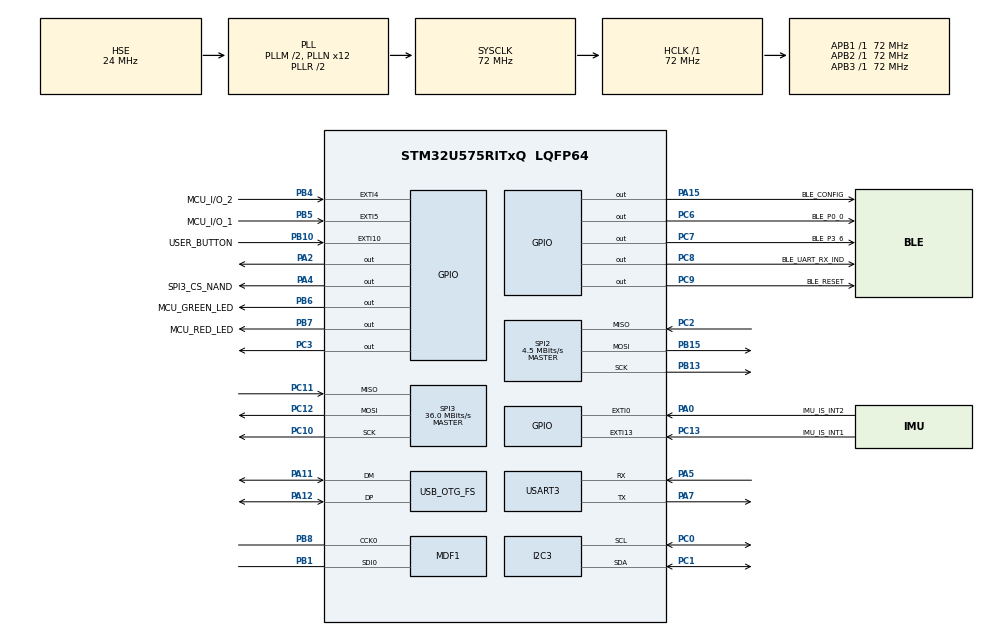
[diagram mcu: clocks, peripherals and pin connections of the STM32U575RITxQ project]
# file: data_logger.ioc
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CORTEX_M33_NS.userName=CORTEX_M33
GPDMA1.CIRCULARMODE_GPDMACH0=ENABLE
GPDMA1.DESTDATAWIDTH_GPDMACH0=DMA_DEST_DATAWIDTH_HALFWORD
GPDMA1.DESTINC_GPDMACH0=DMA_DINC_INCREMENTED
GPDMA1.IPHANDLE_GPDMACH0-SIMPLEREQUEST_GPDMACH0=__NULL
GPDMA1.REQUEST_GPDMACH0=GPDMA1_REQUEST_MDF1_FLT0
GPDMA1.SRCDATAWIDTH_GPDMACH0=DMA_SRC_DATAWIDTH_HALFWORD
I2C3.Timing=0x10808DD3
MDF1.MDF_COMPARAM_ActivationClockTrigger=DISABLE
MDF1.MDF_COMPARAM_ActivationOutputClock=ENABLE
MDF1.MDF_COMPARAM_Divider=10
MDF1.MDF_COMPARAM_Pins=MDF_OUTPUT_CLOCK_0
MDF1.MDF_DFLT0_AcquisitionMode=MDF_MODE_ASYNC_CONT
MDF1.MDF_DFLT0_CIC_Mode=MDF_ONE_FILTER_SINC5
MDF1.MDF_DFLT0_Decimation=24
MDF1.MDF_DFLT0_DiscardSamples=255
MDF1.MDF_DFLT0_FifoThreshold=MDF_FIFO_THRESHOLD_HALF_FULL
MDF1.MDF_DFLT0_Gain=1
MDF1.MDF_DFLT0_HighPassFilterActivation=ENABLE
MDF1.MDF_DFLT0_ReshapeFilterActivation=ENABLE
MDF1.MDF_SITF0_Mode_Display=MDF_SITF_NORMAL_SPI_MODE
MDF1.MDF_SITF0_Threshold=31
Mcu.Family=STM32U5
Mcu.Name=STM32U575RITxQ
Mcu.Package=LQFP64
NVIC.EXTI0_IRQn=true\:0\:0\:false\:false\:true\:true\:true\:true
NVIC.EXTI10_IRQn=true\:0\:0\:false\:false\:true\:true\:true\:true
NVIC.EXTI13_IRQn=true\:0\:0\:false\:false\:true\:true\:true\:true
NVIC.EXTI4_IRQn=true\:0\:0\:false\:false\:true\:true\:true\:true
NVIC.EXTI5_IRQn=true\:0\:0\:false\:false\:true\:true\:true\:true
NVIC.GPDMA1_Channel0_IRQn=true\:0\:0\:false\:false\:true\:false\:true\:true
NVIC.MDF1_FLT0_IRQn=true\:0\:0\:false\:false\:true\:true\:true\:true
NVIC.OTG_FS_IRQn=true\:0\:0\:false\:false\:true\:true\:true\:true
NVIC.PriorityGroup=NVIC_PRIORITYGROUP_4
NVIC.SPI2_IRQn=true\:0\:0\:false\:false\:true\:true\:true\:true
NVIC.SPI3_IRQn=true\:0\:0\:false\:false\:true\:true\:true\:true
NVIC.TIM2_IRQn=true\:2\:0\:true\:false\:true\:true\:true\:true
NVIC.USART3_IRQn=true\:0\:0\:false\:false\:true\:true\:true\:true
PA0.GPIO_Label=IMU_IS_INT2
PA0.Signal=GPXTI0
PA11.GPIO_Speed=GPIO_SPEED_FREQ_VERY_HIGH
PA11.Mode=Device_Only
PA11.Signal=USB_OTG_FS_DM
PA12.GPIO_Speed=GPIO_SPEED_FREQ_VERY_HIGH
PA12.Mode=Device_Only
PA12.Signal=USB_OTG_FS_DP
PA13\ (JTMS/SWDIO).Mode=Trace_Asynchronous_SW
PA13\ (JTMS/SWDIO).Signal=DEBUG_JTMS-SWDIO
PA14\ (JTCK/SWCLK).Mode=Trace_Asynchronous_SW
PA14\ (JTCK/SWCLK).Signal=DEBUG_JTCK-SWCLK
PA15\ (JTDI).GPIO_Label=BLE_CONFIG
PA15\ (JTDI).PinState=GPIO_PIN_SET
PA15\ (JTDI).Signal=GPIO_Output
PA2.Signal=GPIO_Output
PA4.GPIO_Label=SPI3_CS_NAND
PA4.Signal=GPIO_Output
PA5.Mode=Asynchronous
PA5.Signal=USART3_RX
PA7.Mode=Asynchronous
PA7.Signal=USART3_TX
PA9.Signal=USB_OTG_FS_VBUS
PB1.GPIO_Speed=GPIO_SPEED_FREQ_VERY_HIGH
PB1.Mode=MOD_MDF_SITF0_CCK0
PB1.Signal=MDF1_SDI0
PB10.GPIO_Label=USER_BUTTON
PB10.GPIO_ModeDefaultEXTI=GPIO_MODE_IT_RISING_FALLING
PB10.GPIO_PuPd=GPIO_PULLDOWN
PB10.Signal=GPXTI10
PB13.Mode=Full_Duplex_Master
PB13.Signal=SPI2_SCK
PB15.Mode=Full_Duplex_Master
PB15.Signal=SPI2_MOSI
PB3\ (JTDO/TRACESWO).Mode=Trace_Asynchronous_SW
PB3\ (JTDO/TRACESWO).Signal=DEBUG_JTDO-SWO
PB4\ (NJTRST).GPIO_Label=MCU_I/O_2
PB4\ (NJTRST).Signal=GPXTI4
PB5.GPIO_Label=MCU_I/O_1
PB5.GPIO_ModeDefaultEXTI=GPIO_MODE_IT_FALLING
PB5.Signal=GPXTI5
PB6.GPIO_Label=MCU_GREEN_LED
PB6.Signal=GPIO_Output
PB7.GPIO_Label=MCU_RED_LED
PB7.Signal=GPIO_Output
PB8.GPIO_FM8=SYSCFG_FASTMODEPLUS_PB8
PB8.GPIO_Speed=GPIO_SPEED_FREQ_VERY_HIGH
PB8.Mode=MOD_MDF_CCK0
PB8.Signal=MDF1_CCK0
PC0.Mode=I2C
PC0.Signal=I2C3_SCL
PC1.Mode=I2C
PC1.Signal=I2C3_SDA
PC10.Mode=Full_Duplex_Master
PC10.Signal=SPI3_SCK
PC11.Mode=Full_Duplex_Master
PC11.Signal=SPI3_MISO
PC12.Mode=Full_Duplex_Master
PC12.Signal=SPI3_MOSI
PC13.GPIO_Label=IMU_IS_INT1
PC13.Signal=GPXTI13
PC14-OSC32_IN\ (PC14).Mode=LSE-External-Oscillator
PC14-OSC32_IN\ (PC14).Signal=RCC_OSC32_IN
PC15-OSC32_OUT\ (PC15).Mode=LSE-External-Oscillator
PC15-OSC32_OUT\ (PC15).Signal=RCC_OSC32_OUT
PC2.Mode=Full_Duplex_Master
PC2.Signal=SPI2_MISO
PC3.Signal=GPIO_Output
PC6.GPIO_Label=BLE_P0_0
PC6.Signal=GPIO_Output
PC7.GPIO_Label=BLE_P3_6
PC7.Signal=GPIO_Output
PC8.GPIO_Label=BLE_UART_RX_IND
PC8.Signal=GPIO_Output
PC9.GPIO_Label=BLE_RESET
PC9.Signal=GPIO_Output
PH0-OSC_IN\ (PH0).Mode=HSE-External-Oscillator
PH0-OSC_IN\ (PH0).Signal=RCC_OSC_IN
PH1-OSC_OUT\ (PH1).Mode=HSE-External-Oscillator
PH1-OSC_OUT\ (PH1).Signal=RCC_OSC_OUT
ProjectManager.HeapSize=0x400
ProjectManager.StackSize=0x800
ProjectManager.TargetToolchain=CMake
RCC.ADCFreq_Value=16000000
RCC.AHBFreq_Value=72000000
RCC.APB1Freq_Value=72000000
RCC.APB1TimFreq_Value=72000000
RCC.APB2Freq_Value=72000000
RCC.APB2TimFreq_Value=72000000
RCC.APB3Freq_Value=72000000
RCC.CK48CLockSelection=RCC_CLK48CLKSOURCE_PLL1
RCC.CortexFreq_Value=72000000
RCC.EPOD_VALUE=24000000
RCC.HCLKFreq_Value=72000000
RCC.HSE_VALUE=24000000
RCC.HSI48_VALUE=48000000
RCC.HSI_VALUE=16000000
RCC.LSIDIV_VALUE=32000
RCC.MSIClockRange=RCC_MSIRANGE_0
RCC.MSI_VALUE=48000000
RCC.MdfClockSelection=RCC_MDF1CLKSOURCE_PLL3
RCC.PLL1Q=3
RCC.PLL2FRACN=0
RCC.PLL3FRACN=0
RCC.PLL3M=3
RCC.PLL3N=48
RCC.PLL3Q=25
RCC.PLL3Source=RCC_PLLSOURCE_HSE
RCC.PLLFRACN=0
RCC.PLLM=2
RCC.PLLN=12
RCC.PLLSourceVirtual=RCC_PLLSOURCE_HSE
RCC.SYSCLKFreq_VALUE=72000000
RCC.SYSCLKSource=RCC_SYSCLKSOURCE_PLLCLK
RCC.USBFreq_Value=48000000
RCC.VCOOutputFreq_Value=144000000
SPI2.BaudRatePrescaler=SPI_BAUDRATEPRESCALER_16
SPI2.CalculateBaudRate=4.5 MBits/s
SPI2.DataSize=SPI_DATASIZE_8BIT
SPI2.Direction=SPI_DIRECTION_2LINES
SPI2.Mode=SPI_MODE_MASTER
SPI2.VirtualType=VM_MASTER
SPI3.CalculateBaudRate=36.0 MBits/s
SPI3.Direction=SPI_DIRECTION_2LINES
SPI3.Mode=SPI_MODE_MASTER
SPI3.VirtualType=VM_MASTER
TIM2.PeriodNoDither=100-1
TIM2.Prescaler=7200-1
USART3.VirtualMode-Asynchronous=VM_ASYNC
USB_OTG_FS.VirtualMode=Device_Only
VP_GPDMA1_VS_GPDMACH0.Mode=SIMPLEREQUEST_GPDMACH0
VP_ICACHE_VS_ENABLE_ICACHE_MEMORY.Mode=Memoryregions
VP_LPBAMQUEUE_VS_QUEUE.Mode=QUEUEMODE
VP_LPBAM_VS_SIG1.Mode=SmartRun
VP_LPBAM_VS_SIG4.Mode=LPDMA1
VP_MDF1_VS_MDF_DFLT0.Mode=MOD_MDF_DFLT0
VP_MEMORYMAP_VS_MEMORYMAP.Mode=CurAppReg
VP_PWR_VS_SECSignals.Mode=Security/Privilege
VP_TIM2_VS_ClockSourceINT.Mode=Internal
board=custom

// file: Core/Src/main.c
/* USER CODE BEGIN Header */
/**
  ******************************************************************************
  * @file           : main.c
  * @brief          : Main application file for data_logger project.
  ******************************************************************************
  * @functionality  : This firmware implements a complete Data Logger for the microphone and spectrometer.
  * @details        : The application operates using a State Machine triggered by a
  * single USER BUTTON. It performs two primary tasks:
  * 1. Real-time Acquisition: Reads microphone and spectrometer data
  * 2. Data Logging: Saves acquired data to NAND Flash memory.
  *
  * Saved data can be downloaded via a USB Virtual COM Port (VCP)
  * connection, also initiated by the USER BUTTON.
  *
  * @intended_use   : Starting template for Smart Wearables Course
  * exploring microphone interfaces, i2c commincation, and memory management.
  ******************************************************************************
  */
/* USER CODE END Header */
#include "main.h"

/* USER CODE BEGIN Includes */
#include "string.h"
#include "stdio.h"
#include "../../USB_Device/App/usb_device.h"
#include "SPI.h"
#include "SPI_NAND.h"
#include "Memory_operations.h"
#include "led_driver.h"
#include "imu_driver.h"
#include "bluetooth.h"
#include "as7341.h"
/* USER CODE END Includes */

I2C_HandleTypeDef hi2c3;

MDF_HandleTypeDef MdfHandle0;
MDF_FilterConfigTypeDef MdfFilterConfig0;
DMA_NodeTypeDef Node_GPDMA1_Channel0;
DMA_QListTypeDef List_GPDMA1_Channel0;
DMA_HandleTypeDef handle_GPDMA1_Channel0;

SPI_HandleTypeDef hspi2;
SPI_HandleTypeDef hspi3;

TIM_HandleTypeDef htim2;

UART_HandleTypeDef huart3;

PCD_HandleTypeDef hpcd_USB_OTG_FS;

/* USER CODE BEGIN PV */

// --- State Machine ---
// The current state of the application. Initial state is IDLE.
static AppState current_state = STATE_IDLE;

// --- Global Flags and Variables ---
// Flag to indicate a USB connection event.
// Set to 1 when a USB connection is detected.
uint8_t usb_flag = 0;

// Spectrometer data structures
AS7341_Handle_t h_as7341;
AS7341_SpectralData_t spectral_data;
AS7341_SpectralData_t spectral_data_buffer; // Buffer for last complete values
volatile bool spectral_data_ready = false;  // Flag set when a complete 11-channel read is finished

// --- Buffer Audio DMA Circolare Hardware ---
#define AUDIO_BLOCK_SIZE 2034
#define AUDIO_BUF_SIZE   (AUDIO_BLOCK_SIZE * 2)
int16_t audio_buffer[AUDIO_BUF_SIZE];

/// ----- NAND FLASH variables ----- ///
uint8_t NAND_packet[4096] = {0};
uint16_t sample = 0;
uint16_t blocco_scritto = 0;
uint8_t pagina_scritta=0;
uint16_t b = 0;

read_address_t blocco;
column_address_t colonna = 0;

uint16_t bad_blocks[2048]={-1}; // bad blocks array for writing/reading
uint8_t bad_blocks2[2048]={0}; // bad blocks array for erasing

uint8_t data_letto[4096] = {0};
int exit_flag = 0;

volatile uint16_t packet_index = 0;
/* USER CODE END PV */

void SystemClock_Config(void);
static void MX_GPIO_Init(void);
static void MX_GPDMA1_Init(void);
static void MX_ICACHE_Init(void);
static void MX_I2C3_Init(void);
static void MX_USART3_UART_Init(void);
static void MX_USB_OTG_FS_PCD_Init(void);
static void MX_MDF1_Init(void);
static void MX_TIM2_Init(void);
static void MX_SPI3_Init(void);
static void MX_SPI2_Init(void);

int main(void)
{

  /* MCU Configuration--------------------------------------------------------*/

  /* Reset of all peripherals, Initializes the Flash interface and the Systick. */
  HAL_Init();

  /* Configure the system clock */
  SystemClock_Config();

  /* Initialize all configured peripherals */
  MX_GPIO_Init();
  MX_GPDMA1_Init();
  MX_ICACHE_Init();
  MX_I2C3_Init();
  MX_USART3_UART_Init();
  MX_USB_OTG_FS_PCD_Init();
  MX_MDF1_Init();
  MX_TIM2_Init();
  MX_SPI3_Init();
  MX_SPI2_Init();
  /* USER CODE BEGIN 2 */
  // Inizializzazione USB
  MX_USB_Device_Init();
  HAL_Delay(1000);

  spi_nand_init();
  find_bad_blocks(bad_blocks); // find bad_blocks and save them

  // Inizializzazione Spettrometro AS7341 sulla I2C3
  if (AS7341_Init(&h_as7341, &hi2c3, 99, 599, AS7341_GAIN_8X, true) != AS7341_OK) {
      LED_On(LED_RED);
      Error_Handler();
  }
  /* USER CODE END 2 */

  /* Infinite loop */
  while (1)
  {

    /* USER CODE BEGIN 3 */

		//LED_Toggle(LED_GREEN);
		//HAL_Delay(1000);

	  switch(current_state) {
      case STATE_IDLE:
        LED_Off(LED_RED);
        LED_Off(LED_GREEN);
        // Check if a USB connection has been detected
        if(!usb_flag) {
          //MX_USB_Device_Init();
        } else {
          // Transition to the USB_CONNECTED state
          current_state = STATE_USB_CONNECTED;
          // Green LED on upon USB Connection
          LED_On(LED_GREEN);
        }
      break;

      case STATE_ACQUISITION:
          LED_On(LED_RED);
          LED_Off(LED_GREEN);
          // If the spectrometer has finished Cycle 2, re-trigger the next read sequence
          if (h_as7341.state == AS7341_STATE_IDLE) {
              AS7341_StartRead(&h_as7341);
          }
          // Microphone acquisition is handled by the DMA
          break;

      case STATE_USB_CONNECTED:
        LED_Off(LED_RED);
        LED_On(LED_GREEN);
        HAL_Delay(10);
      break;

      case STATE_DOWNLOAD:
        LED_On(LED_GREEN);
        LED_On(LED_RED);

        // This state manages reading data blocks and sending them via USB.
        // Once download is complete, the state returns to USB_CONNECTED.
        // Read data packets from memory
        read_memory_and_transmit();

        current_state = STATE_USB_CONNECTED;
      break;
	  }

  }
  /* USER CODE END 3 */
}

void SystemClock_Config(void)
{
  RCC_OscInitTypeDef RCC_OscInitStruct = {0};
  RCC_ClkInitTypeDef RCC_ClkInitStruct = {0};

  /** Configure the main internal regulator output voltage
  */
  if (HAL_PWREx_ControlVoltageScaling(PWR_REGULATOR_VOLTAGE_SCALE2) != HAL_OK)
  {
    Error_Handler();
  }

  /** Initializes the CPU, AHB and APB buses clocks
  */
  RCC_OscInitStruct.OscillatorType = RCC_OSCILLATORTYPE_HSE;
  RCC_OscInitStruct.HSEState = RCC_HSE_ON;
  RCC_OscInitStruct.PLL.PLLState = RCC_PLL_ON;
  RCC_OscInitStruct.PLL.PLLSource = RCC_PLLSOURCE_HSE;
  RCC_OscInitStruct.PLL.PLLMBOOST = RCC_PLLMBOOST_DIV2;
  RCC_OscInitStruct.PLL.PLLM = 2;
  RCC_OscInitStruct.PLL.PLLN = 12;
  RCC_OscInitStruct.PLL.PLLP = 2;
  RCC_OscInitStruct.PLL.PLLQ = 3;
  RCC_OscInitStruct.PLL.PLLR = 2;
  RCC_OscInitStruct.PLL.PLLRGE = RCC_PLLVCIRANGE_1;
  RCC_OscInitStruct.PLL.PLLFRACN = 0;
  if (HAL_RCC_OscConfig(&RCC_OscInitStruct) != HAL_OK)
  {
    Error_Handler();
  }

  /** Initializes the CPU, AHB and APB buses clocks
  */
  RCC_ClkInitStruct.ClockType = RCC_CLOCKTYPE_HCLK|RCC_CLOCKTYPE_SYSCLK
                              |RCC_CLOCKTYPE_PCLK1|RCC_CLOCKTYPE_PCLK2
                              |RCC_CLOCKTYPE_PCLK3;
  RCC_ClkInitStruct.SYSCLKSource = RCC_SYSCLKSOURCE_PLLCLK;
  RCC_ClkInitStruct.AHBCLKDivider = RCC_SYSCLK_DIV1;
  RCC_ClkInitStruct.APB1CLKDivider = RCC_HCLK_DIV1;
  RCC_ClkInitStruct.APB2CLKDivider = RCC_HCLK_DIV1;
  RCC_ClkInitStruct.APB3CLKDivider = RCC_HCLK_DIV1;

  if (HAL_RCC_ClockConfig(&RCC_ClkInitStruct, FLASH_LATENCY_2) != HAL_OK)
  {
    Error_Handler();
  }
}

static void MX_GPDMA1_Init(void)
{

  /* Peripheral clock enable */
  __HAL_RCC_GPDMA1_CLK_ENABLE();

  /* GPDMA1 interrupt Init */
    HAL_NVIC_SetPriority(GPDMA1_Channel0_IRQn, 0, 0);
    HAL_NVIC_EnableIRQ(GPDMA1_Channel0_IRQn);

}

static void MX_I2C3_Init(void)
{

  hi2c3.Instance = I2C3;
  hi2c3.Init.Timing = 0x10808DD3;
  hi2c3.Init.OwnAddress1 = 0;
  hi2c3.Init.AddressingMode = I2C_ADDRESSINGMODE_7BIT;
  hi2c3.Init.DualAddressMode = I2C_DUALADDRESS_DISABLE;
  hi2c3.Init.OwnAddress2 = 0;
  hi2c3.Init.OwnAddress2Masks = I2C_OA2_NOMASK;
  hi2c3.Init.GeneralCallMode = I2C_GENERALCALL_DISABLE;
  hi2c3.Init.NoStretchMode = I2C_NOSTRETCH_DISABLE;
  if (HAL_I2C_Init(&hi2c3) != HAL_OK)
  {
    Error_Handler();
  }

  /** Configure Analogue filter
  */
  if (HAL_I2CEx_ConfigAnalogFilter(&hi2c3, I2C_ANALOGFILTER_ENABLE) != HAL_OK)
  {
    Error_Handler();
  }

  /** Configure Digital filter
  */
  if (HAL_I2CEx_ConfigDigitalFilter(&hi2c3, 0) != HAL_OK)
  {
    Error_Handler();
  }

}

static void MX_ICACHE_Init(void)
{

}

static void MX_MDF1_Init(void)
{

  /**
    MdfHandle0 structure initialization and HAL_MDF_Init function call
  */
  MdfHandle0.Instance = MDF1_Filter0;
  MdfHandle0.Init.CommonParam.InterleavedFilters = 0;
  MdfHandle0.Init.CommonParam.ProcClockDivider = 1;
  MdfHandle0.Init.CommonParam.OutputClock.Activation = ENABLE;
  MdfHandle0.Init.CommonParam.OutputClock.Pins = MDF_OUTPUT_CLOCK_0;
  MdfHandle0.Init.CommonParam.OutputClock.Divider = 10;
  MdfHandle0.Init.CommonParam.OutputClock.Trigger.Activation = DISABLE;
  MdfHandle0.Init.SerialInterface.Activation = ENABLE;
  MdfHandle0.Init.SerialInterface.Mode = MDF_SITF_NORMAL_SPI_MODE;
  MdfHandle0.Init.SerialInterface.ClockSource = MDF_SITF_CCK0_SOURCE;
  MdfHandle0.Init.SerialInterface.Threshold = 31;
  MdfHandle0.Init.FilterBistream = MDF_BITSTREAM0_RISING;
  if (HAL_MDF_Init(&MdfHandle0) != HAL_OK)
  {
    Error_Handler();
  }

  /**
    MdfFilterConfig0, MdfOldConfig0 and/or MdfScdConfig0 structures initialization

    WARNING : only structures are filled, no specific init function call for filter
  */
  MdfFilterConfig0.DataSource = MDF_DATA_SOURCE_BSMX;
  MdfFilterConfig0.Delay = 0;
  MdfFilterConfig0.CicMode = MDF_ONE_FILTER_SINC5;
  MdfFilterConfig0.DecimationRatio = 24;
  MdfFilterConfig0.Offset = 0;
  MdfFilterConfig0.Gain = 1;
  MdfFilterConfig0.ReshapeFilter.Activation = ENABLE;
  MdfFilterConfig0.ReshapeFilter.DecimationRatio = MDF_RSF_DECIMATION_RATIO_4;
  MdfFilterConfig0.HighPassFilter.Activation = ENABLE;
  MdfFilterConfig0.HighPassFilter.CutOffFrequency = MDF_HPF_CUTOFF_0_000625FPCM;
  MdfFilterConfig0.Integrator.Activation = DISABLE;
  MdfFilterConfig0.SoundActivity.Activation = DISABLE;
  MdfFilterConfig0.AcquisitionMode = MDF_MODE_ASYNC_CONT;
  MdfFilterConfig0.FifoThreshold = MDF_FIFO_THRESHOLD_HALF_FULL;
  MdfFilterConfig0.DiscardSamples = 255;

}

static void MX_SPI2_Init(void)
{

  SPI_AutonomousModeConfTypeDef HAL_SPI_AutonomousMode_Cfg_Struct = {0};

  /* SPI2 parameter configuration*/
  hspi2.Instance = SPI2;
  hspi2.Init.Mode = SPI_MODE_MASTER;
  hspi2.Init.Direction = SPI_DIRECTION_2LINES;
  hspi2.Init.DataSize = SPI_DATASIZE_8BIT;
  hspi2.Init.CLKPolarity = SPI_POLARITY_LOW;
  hspi2.Init.CLKPhase = SPI_PHASE_1EDGE;
  hspi2.Init.NSS = SPI_NSS_SOFT;
  hspi2.Init.BaudRatePrescaler = SPI_BAUDRATEPRESCALER_16;
  hspi2.Init.FirstBit = SPI_FIRSTBIT_MSB;
  hspi2.Init.TIMode = SPI_TIMODE_DISABLE;
  hspi2.Init.CRCCalculation = SPI_CRCCALCULATION_DISABLE;
  hspi2.Init.CRCPolynomial = 0x7;
  hspi2.Init.NSSPMode = SPI_NSS_PULSE_ENABLE;
  hspi2.Init.NSSPolarity = SPI_NSS_POLARITY_LOW;
  hspi2.Init.FifoThreshold = SPI_FIFO_THRESHOLD_01DATA;
  hspi2.Init.MasterSSIdleness = SPI_MASTER_SS_IDLENESS_00CYCLE;
  hspi2.Init.MasterInterDataIdleness = SPI_MASTER_INTERDATA_IDLENESS_00CYCLE;
  hspi2.Init.MasterReceiverAutoSusp = SPI_MASTER_RX_AUTOSUSP_DISABLE;
  hspi2.Init.MasterKeepIOState = SPI_MASTER_KEEP_IO_STATE_DISABLE;
  hspi2.Init.IOSwap = SPI_IO_SWAP_DISABLE;
  hspi2.Init.ReadyMasterManagement = SPI_RDY_MASTER_MANAGEMENT_INTERNALLY;
  hspi2.Init.ReadyPolarity = SPI_RDY_POLARITY_HIGH;
  if (HAL_SPI_Init(&hspi2) != HAL_OK)
  {
    Error_Handler();
  }
  HAL_SPI_AutonomousMode_Cfg_Struct.TriggerState = SPI_AUTO_MODE_DISABLE;
  HAL_SPI_AutonomousMode_Cfg_Struct.TriggerSelection = SPI_GRP1_GPDMA_CH0_TCF_TRG;
  HAL_SPI_AutonomousMode_Cfg_Struct.TriggerPolarity = SPI_TRIG_POLARITY_RISING;
  if (HAL_SPIEx_SetConfigAutonomousMode(&hspi2, &HAL_SPI_AutonomousMode_Cfg_Struct) != HAL_OK)
  {
    Error_Handler();
  }

}

static void MX_SPI3_Init(void)
{

  SPI_AutonomousModeConfTypeDef HAL_SPI_AutonomousMode_Cfg_Struct = {0};

  /* SPI3 parameter configuration*/
  hspi3.Instance = SPI3;
  hspi3.Init.Mode = SPI_MODE_MASTER;
  hspi3.Init.Direction = SPI_DIRECTION_2LINES;
  hspi3.Init.DataSize = SPI_DATASIZE_8BIT;
  hspi3.Init.CLKPolarity = SPI_POLARITY_LOW;
  hspi3.Init.CLKPhase = SPI_PHASE_1EDGE;
  hspi3.Init.NSS = SPI_NSS_SOFT;
  hspi3.Init.BaudRatePrescaler = SPI_BAUDRATEPRESCALER_2;
  hspi3.Init.FirstBit = SPI_FIRSTBIT_MSB;
  hspi3.Init.TIMode = SPI_TIMODE_DISABLE;
  hspi3.Init.CRCCalculation = SPI_CRCCALCULATION_DISABLE;
  hspi3.Init.CRCPolynomial = 0x7;
  hspi3.Init.NSSPMode = SPI_NSS_PULSE_ENABLE;
  hspi3.Init.NSSPolarity = SPI_NSS_POLARITY_LOW;
  hspi3.Init.FifoThreshold = SPI_FIFO_THRESHOLD_01DATA;
  hspi3.Init.MasterSSIdleness = SPI_MASTER_SS_IDLENESS_00CYCLE;
  hspi3.Init.MasterInterDataIdleness = SPI_MASTER_INTERDATA_IDLENESS_00CYCLE;
  hspi3.Init.MasterReceiverAutoSusp = SPI_MASTER_RX_AUTOSUSP_DISABLE;
  hspi3.Init.MasterKeepIOState = SPI_MASTER_KEEP_IO_STATE_DISABLE;
  hspi3.Init.IOSwap = SPI_IO_SWAP_DISABLE;
  hspi3.Init.ReadyMasterManagement = SPI_RDY_MASTER_MANAGEMENT_INTERNALLY;
  hspi3.Init.ReadyPolarity = SPI_RDY_POLARITY_HIGH;
  if (HAL_SPI_Init(&hspi3) != HAL_OK)
  {
    Error_Handler();
  }
  HAL_SPI_AutonomousMode_Cfg_Struct.TriggerState = SPI_AUTO_MODE_DISABLE;
  HAL_SPI_AutonomousMode_Cfg_Struct.TriggerSelection = SPI_GRP2_LPDMA_CH0_TCF_TRG;
  HAL_SPI_AutonomousMode_Cfg_Struct.TriggerPolarity = SPI_TRIG_POLARITY_RISING;
  if (HAL_SPIEx_SetConfigAutonomousMode(&hspi3, &HAL_SPI_AutonomousMode_Cfg_Struct) != HAL_OK)
  {
    Error_Handler();
  }

}

static void MX_TIM2_Init(void)
{

  TIM_ClockConfigTypeDef sClockSourceConfig = {0};
  TIM_MasterConfigTypeDef sMasterConfig = {0};

  htim2.Instance = TIM2;
  htim2.Init.Prescaler = 7200-1;
  htim2.Init.CounterMode = TIM_COUNTERMODE_UP;
  htim2.Init.Period = 99;
  htim2.Init.ClockDivision = TIM_CLOCKDIVISION_DIV1;
  htim2.Init.AutoReloadPreload = TIM_AUTORELOAD_PRELOAD_DISABLE;
  if (HAL_TIM_Base_Init(&htim2) != HAL_OK)
  {
    Error_Handler();
  }
  sClockSourceConfig.ClockSource = TIM_CLOCKSOURCE_INTERNAL;
  if (HAL_TIM_ConfigClockSource(&htim2, &sClockSourceConfig) != HAL_OK)
  {
    Error_Handler();
  }
  sMasterConfig.MasterOutputTrigger = TIM_TRGO_RESET;
  sMasterConfig.MasterSlaveMode = TIM_MASTERSLAVEMODE_DISABLE;
  if (HAL_TIMEx_MasterConfigSynchronization(&htim2, &sMasterConfig) != HAL_OK)
  {
    Error_Handler();
  }

}

static void MX_USART3_UART_Init(void)
{

  huart3.Instance = USART3;
  huart3.Init.BaudRate = 115200;
  huart3.Init.WordLength = UART_WORDLENGTH_8B;
  huart3.Init.StopBits = UART_STOPBITS_1;
  huart3.Init.Parity = UART_PARITY_NONE;
  huart3.Init.Mode = UART_MODE_TX_RX;
  huart3.Init.HwFlowCtl = UART_HWCONTROL_NONE;
  huart3.Init.OverSampling = UART_OVERSAMPLING_16;
  huart3.Init.OneBitSampling = UART_ONE_BIT_SAMPLE_DISABLE;
  huart3.Init.ClockPrescaler = UART_PRESCALER_DIV1;
  huart3.AdvancedInit.AdvFeatureInit = UART_ADVFEATURE_NO_INIT;
  if (HAL_UART_Init(&huart3) != HAL_OK)
  {
    Error_Handler();
  }
  if (HAL_UARTEx_SetTxFifoThreshold(&huart3, UART_TXFIFO_THRESHOLD_1_8) != HAL_OK)
  {
    Error_Handler();
  }
  if (HAL_UARTEx_SetRxFifoThreshold(&huart3, UART_RXFIFO_THRESHOLD_1_8) != HAL_OK)
  {
    Error_Handler();
  }
  if (HAL_UARTEx_DisableFifoMode(&huart3) != HAL_OK)
  {
    Error_Handler();
  }

}

static void MX_USB_OTG_FS_PCD_Init(void)
{

  hpcd_USB_OTG_FS.Instance = USB_OTG_FS;
  hpcd_USB_OTG_FS.Init.dev_endpoints = 6;
  hpcd_USB_OTG_FS.Init.speed = PCD_SPEED_FULL;
  hpcd_USB_OTG_FS.Init.phy_itface = PCD_PHY_EMBEDDED;
  hpcd_USB_OTG_FS.Init.Sof_enable = DISABLE;
  hpcd_USB_OTG_FS.Init.low_power_enable = DISABLE;
  hpcd_USB_OTG_FS.Init.lpm_enable = DISABLE;
  hpcd_USB_OTG_FS.Init.battery_charging_enable = DISABLE;
  hpcd_USB_OTG_FS.Init.use_dedicated_ep1 = DISABLE;
  hpcd_USB_OTG_FS.Init.vbus_sensing_enable = DISABLE;
  hpcd_USB_OTG_FS.Init.dma_enable = DISABLE;
  if (HAL_PCD_Init(&hpcd_USB_OTG_FS) != HAL_OK)
  {
    Error_Handler();
  }

}

static void MX_GPIO_Init(void)
{
  GPIO_InitTypeDef GPIO_InitStruct = {0};

  /* GPIO Ports Clock Enable */
  __HAL_RCC_GPIOC_CLK_ENABLE();
  __HAL_RCC_GPIOH_CLK_ENABLE();
  __HAL_RCC_GPIOA_CLK_ENABLE();
  __HAL_RCC_GPIOB_CLK_ENABLE();

  /*Configure GPIO pin Output Level */
  HAL_GPIO_WritePin(GPIOC, GPIO_PIN_3|BLE_P0_0_Pin|BLE_P3_6_Pin|BLE_UART_RX_IND_Pin
                          |BLE_RESET_Pin, GPIO_PIN_RESET);

  /*Configure GPIO pin Output Level */
  HAL_GPIO_WritePin(GPIOA, GPIO_PIN_2|SPI3_CS_NAND_Pin, GPIO_PIN_RESET);

  /*Configure GPIO pin Output Level */
  HAL_GPIO_WritePin(BLE_CONFIG_GPIO_Port, BLE_CONFIG_Pin, GPIO_PIN_SET);

  /*Configure GPIO pin Output Level */
  HAL_GPIO_WritePin(GPIOB, MCU_GREEN_LED_Pin|MCU_RED_LED_Pin, GPIO_PIN_RESET);

  /*Configure GPIO pin : IMU_IS_INT1_Pin */
  GPIO_InitStruct.Pin = IMU_IS_INT1_Pin;
  GPIO_InitStruct.Mode = GPIO_MODE_IT_RISING;
  GPIO_InitStruct.Pull = GPIO_NOPULL;
  HAL_GPIO_Init(IMU_IS_INT1_GPIO_Port, &GPIO_InitStruct);

  /*Configure GPIO pins : PC3 BLE_P0_0_Pin BLE_P3_6_Pin BLE_UART_RX_IND_Pin
                           BLE_RESET_Pin */
  GPIO_InitStruct.Pin = GPIO_PIN_3|BLE_P0_0_Pin|BLE_P3_6_Pin|BLE_UART_RX_IND_Pin
                          |BLE_RESET_Pin;
  GPIO_InitStruct.Mode = GPIO_MODE_OUTPUT_PP;
  GPIO_InitStruct.Pull = GPIO_NOPULL;
  GPIO_InitStruct.Speed = GPIO_SPEED_FREQ_LOW;
  HAL_GPIO_Init(GPIOC, &GPIO_InitStruct);

  /*Configure GPIO pin : IMU_IS_INT2_Pin */
  GPIO_InitStruct.Pin = IMU_IS_INT2_Pin;
  GPIO_InitStruct.Mode = GPIO_MODE_IT_RISING;
  GPIO_InitStruct.Pull = GPIO_NOPULL;
  HAL_GPIO_Init(IMU_IS_INT2_GPIO_Port, &GPIO_InitStruct);

  /*Configure GPIO pins : PA2 SPI3_CS_NAND_Pin BLE_CONFIG_Pin */
  GPIO_InitStruct.Pin = GPIO_PIN_2|SPI3_CS_NAND_Pin|BLE_CONFIG_Pin;
  GPIO_InitStruct.Mode = GPIO_MODE_OUTPUT_PP;
  GPIO_InitStruct.Pull = GPIO_NOPULL;
  GPIO_InitStruct.Speed = GPIO_SPEED_FREQ_LOW;
  HAL_GPIO_Init(GPIOA, &GPIO_InitStruct);

  /*Configure GPIO pin : USER_BUTTON_Pin */
  GPIO_InitStruct.Pin = USER_BUTTON_Pin;
  GPIO_InitStruct.Mode = GPIO_MODE_IT_RISING_FALLING;
  GPIO_InitStruct.Pull = GPIO_PULLDOWN;
  HAL_GPIO_Init(USER_BUTTON_GPIO_Port, &GPIO_InitStruct);

  /*Configure GPIO pin : MCU_I_O_2_Pin */
  GPIO_InitStruct.Pin = MCU_I_O_2_Pin;
  GPIO_InitStruct.Mode = GPIO_MODE_IT_RISING;
  GPIO_InitStruct.Pull = GPIO_NOPULL;
  HAL_GPIO_Init(MCU_I_O_2_GPIO_Port, &GPIO_InitStruct);

  /*Configure GPIO pin : MCU_I_O_1_Pin */
  GPIO_InitStruct.Pin = MCU_I_O_1_Pin;
  GPIO_InitStruct.Mode = GPIO_MODE_IT_FALLING;
  GPIO_InitStruct.Pull = GPIO_NOPULL;
  HAL_GPIO_Init(MCU_I_O_1_GPIO_Port, &GPIO_InitStruct);

  /*Configure GPIO pins : MCU_GREEN_LED_Pin MCU_RED_LED_Pin */
  GPIO_InitStruct.Pin = MCU_GREEN_LED_Pin|MCU_RED_LED_Pin;
  GPIO_InitStruct.Mode = GPIO_MODE_OUTPUT_PP;
  GPIO_InitStruct.Pull = GPIO_NOPULL;
  GPIO_InitStruct.Speed = GPIO_SPEED_FREQ_LOW;
  HAL_GPIO_Init(GPIOB, &GPIO_InitStruct);

  /* EXTI interrupt init*/
  HAL_NVIC_SetPriority(EXTI0_IRQn, 0, 0);
  HAL_NVIC_EnableIRQ(EXTI0_IRQn);

  HAL_NVIC_SetPriority(EXTI4_IRQn, 0, 0);
  HAL_NVIC_EnableIRQ(EXTI4_IRQn);

  HAL_NVIC_SetPriority(EXTI5_IRQn, 0, 0);
  HAL_NVIC_EnableIRQ(EXTI5_IRQn);

  HAL_NVIC_SetPriority(EXTI10_IRQn, 0, 0);
  HAL_NVIC_EnableIRQ(EXTI10_IRQn);

  HAL_NVIC_SetPriority(EXTI13_IRQn, 0, 0);
  HAL_NVIC_EnableIRQ(EXTI13_IRQn);

}

/* USER CODE BEGIN 4 */
void HAL_GPIO_EXTI_Rising_Callback(uint16_t GPIO_Pin)
{
	if(GPIO_Pin == USER_BUTTON_Pin)
	{
    // A button press can trigger different state transitions depending on the current state.
		switch(current_state) {
			case STATE_IDLE:
				LED_On(LED_RED);
				erase_memory(); // Cancella la memoria prima di registrare
        packet_index = 0;
				LED_Off(LED_RED);
        // --- CONFIGURAZIONE E AVVIO AUDIO VIA MDF + DMA ---
        MDF_DmaConfigTypeDef mdf_dma_config = {0};
        mdf_dma_config.Address = (uint32_t)audio_buffer;
        mdf_dma_config.DataLength  = AUDIO_BUF_SIZE * sizeof(int16_t);
        mdf_dma_config.MsbOnly = ENABLE;

        if (HAL_MDF_AcqStart_DMA(&MdfHandle0, &MdfFilterConfig0, &mdf_dma_config) != HAL_OK) {
            LED_On(LED_RED);
            Error_Handler();
        }
        AS7341_StartRead(&h_as7341); // Initial async trigger sequence launch

				current_state = STATE_ACQUISITION;
			break;
			case STATE_ACQUISITION:
				current_state = STATE_IDLE;
        HAL_MDF_AcqStop_DMA(&MdfHandle0);
				break;
			case STATE_USB_CONNECTED:
				// If USB is connected, start the download process.
				exit_flag = 0;
				current_state = STATE_DOWNLOAD;
				break;
			default:
				// Do nothing for other states (e.g., if button is pressed during DOWNLOAD).
				break;
		}
	}
}

void HAL_GPIO_EXTI_Falling_Callback(uint16_t GPIO_Pin) {
  // Spectrometer Hardware Interrupt
  if (GPIO_Pin == MCU_I_O_1_Pin) {
      HAL_NVIC_DisableIRQ(MCU_I_O_1_EXTI_IRQn);

      if (AS7341_IRQHandler(&h_as7341, &spectral_data)) {
          // Evaluates true ONLY when Cycle 2 concludes cleanly
          spectral_data_buffer = spectral_data; // Copy in one shot
          spectral_data_ready = true;
      }

      __HAL_GPIO_EXTI_CLEAR_IT(MCU_I_O_1_Pin); // Clear any pending ghost flags accrued during the write
      HAL_NVIC_EnableIRQ(MCU_I_O_1_EXTI_IRQn);
  }
}

void HAL_MDF_AcqHalfCpltCallback(MDF_HandleTypeDef *hmdf) {
    if (hmdf->Instance == MDF1_Filter0) {
        if (current_state == STATE_ACQUISITION) {
            write_packet(NAND_packet, packet_index, spectral_data_ready, &spectral_data_buffer, &audio_buffer[0]);
            spectral_data_ready = false;
            packet_index++;
            sample++;
            write_memory();
        }
    }
}

void HAL_MDF_AcqCpltCallback(MDF_HandleTypeDef *hmdf) {
    if (hmdf->Instance == MDF1_Filter0) {
        if (current_state == STATE_ACQUISITION) {
            write_packet(NAND_packet, packet_index, spectral_data_ready, &spectral_data_buffer, &audio_buffer[AUDIO_BLOCK_SIZE]);
            spectral_data_ready = false;
            packet_index++;
            sample++;
            write_memory();
        }
    }
}
/* USER CODE END 4 */

void Error_Handler(void)
{
  __disable_irq();
  while (1)
  {
  }
}
